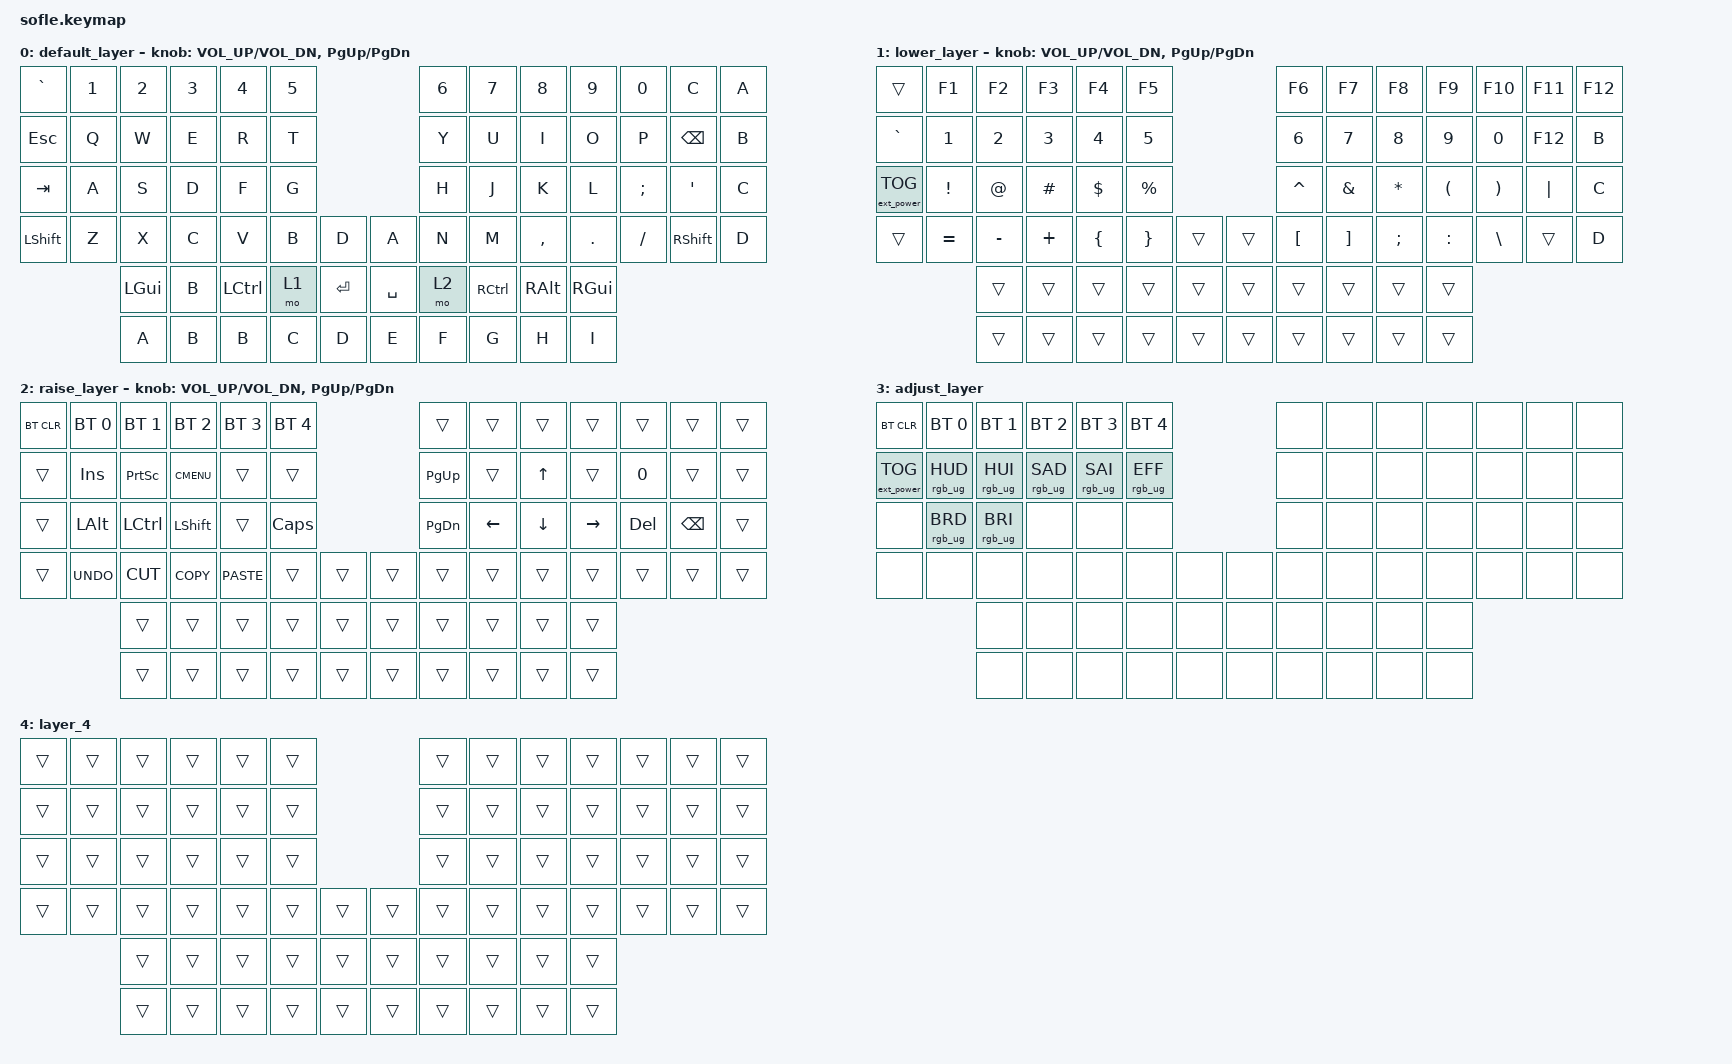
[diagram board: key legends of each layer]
/*
 * Copyright (c) 2020 The ZMK Contributors
 *
 * SPDX-License-Identifier: MIT
 */

#include <behaviors.dtsi>
#include <dt-bindings/zmk/bt.h>
#include <dt-bindings/zmk/ext_power.h>
#include <dt-bindings/zmk/keys.h>
#include <dt-bindings/zmk/rgb.h>

#define BASE 0
#define LOWER 1
#define RAISE 2
#define ADJUST 3

/ {
    // Activate ADJUST layer by pressing raise and lower

    conditional_layers {
        compatible = "zmk,conditional-layers";

        adjust_layer {
            if-layers = <1 2>;
            then-layer = <3>;
        };
    };

    keymap {
        compatible = "zmk,keymap";

        default_layer {
            // ------------------------------------------------------------------------------------------------------------
            // |   `   |  1  |  2  |  3   |  4   |  5   |                   |  6   |  7    |  8    |  9   |   0   |       |
            // |  ESC  |  Q  |  W  |  E   |  R   |  T   |                   |  Y   |  U    |  I    |  O   |   P   | BKSPC |
            // |  TAB  |  A  |  S  |  D   |  F   |  G   |                   |  H   |  J    |  K    |  L   |   ;   |   '   |
            // | SHIFT |  Z  |  X  |  C   |  V   |  B   |  MUTE  |  |       |  N   |  M    |  ,    |  .   |   /   | SHIFT |
            //               | GUI | ALT  | CTRL | LOWER|  ENTER |  | SPACE | RAISE| CTRL  | ALT   | GUI  |

            bindings = <
&kp GRAVE  &kp N1  &kp N2    &kp N3  &kp N4     &kp N5                        &kp N6  &kp N7     &kp N8     &kp N9    &kp N0    &kp C       &kp A
&kp ESC    &kp Q   &kp W     &kp E   &kp R      &kp T                         &kp Y   &kp U      &kp I      &kp O     &kp P     &kp BSPC    &kp B
&kp TAB    &kp A   &kp S     &kp D   &kp F      &kp G                         &kp H   &kp J      &kp K      &kp L     &kp SEMI  &kp SQT     &kp C
&kp LSHFT  &kp Z   &kp X     &kp C   &kp V      &kp B   &kp D      &kp A      &kp N   &kp M      &kp COMMA  &kp DOT   &kp FSLH  &kp RSHFT   &kp D
                   &kp LGUI  &kp B   &kp LCTRL  &mo 1   &kp RET    &kp SPACE  &mo 2   &kp RCTRL  &kp RALT   &kp RGUI
                   &kp A     &kp B   &kp B      &kp C   &kp D      &kp E      &kp F   &kp G      &kp H      &kp I
            >;

            sensor-bindings = <&inc_dec_kp C_VOL_UP C_VOL_DN &inc_dec_kp PG_UP PG_DN>;
        };

        lower_layer {
            // TODO: Some binds are waiting for shifted keycode support.
            // ------------------------------------------------------------------------------------------------------------
            // |       |  F1 |  F2 |  F3  |  F4  |  F5  |                   |  F6  |  F7   |  F8   |  F9  |  F10  |  F11  |
            // |   `   |  1  |  2  |  3   |  4   |  5   |                   |  6   |  7    |  8    |  9   |   0   |  F12  |
            // |       |  !  |  @  |  #   |  $   |  %   |                   |  ^   |  &    |  *    |  (   |   )   |   |   |
            // |       |  =  |  -  |  +   |  {   |  }   |        |  |       |  [   |  ]    |  ;    |  :   |   \   |       |
            //               |     |      |      |      |        |  |       |      |       |       |      |

            bindings = <
&trans             &kp F1     &kp F2     &kp F3    &kp F4    &kp F5                       &kp F6     &kp F7    &kp F8     &kp F9     &kp F10   &kp F11    &kp F12
&kp GRAVE          &kp N1     &kp N2     &kp N3    &kp N4    &kp N5                       &kp N6     &kp N7    &kp N8     &kp N9     &kp N0    &kp F12    &kp B
&ext_power EP_TOG  &kp EXCL   &kp AT     &kp HASH  &kp DLLR  &kp PRCNT                    &kp CARET  &kp AMPS  &kp ASTRK  &kp LPAR   &kp RPAR  &kp PIPE   &kp C
&trans             &kp EQUAL  &kp MINUS  &kp PLUS  &kp LBRC  &kp RBRC   &trans    &trans  &kp LBKT   &kp RBKT  &kp SEMI   &kp COLON  &kp BSLH  &trans     &kp D
                              &trans     &trans    &trans    &trans     &trans    &trans  &trans     &trans    &trans     &trans
                              &trans     &trans    &trans    &trans     &trans    &trans  &trans     &trans    &trans     &trans

            >;

            sensor-bindings = <&inc_dec_kp C_VOL_UP C_VOL_DN &inc_dec_kp PG_UP PG_DN>;
        };

        raise_layer {
            // ------------------------------------------------------------------------------------------------------------
            // | BTCLR | BT1  | BT2  |  BT3  |  BT4  |  BT5 |                |      |      |       |      |       |       |
            // |       | INS  | PSCR | GUI   |       |      |                | PGUP |      |   ^   |      |       |       |
            // |       | ALT  | CTRL | SHIFT |       | CAPS |                | PGDN |   <- |   v   |  ->  |  DEL  | BKSPC |
            // |       | UNDO | CUT  | COPY  | PASTE |      |      |  |      |      |      |       |      |       |       |
            //                |      |       |       |      |      |  |      |      |      |       |      |

            bindings = <
&bt BT_CLR  &bt BT_SEL 0  &bt BT_SEL 1  &bt BT_SEL 2  &bt BT_SEL 3  &bt BT_SEL 4                    &trans     &trans    &trans    &trans     &trans   &trans    &trans
&trans      &kp INS       &kp PSCRN     &kp K_CMENU   &trans        &trans                          &kp PG_UP  &trans    &kp UP    &trans     &kp N0   &trans    &trans
&trans      &kp LALT      &kp LCTRL     &kp LSHFT     &trans        &kp CLCK                        &kp PG_DN  &kp LEFT  &kp DOWN  &kp RIGHT  &kp DEL  &kp BSPC  &trans
&trans      &kp K_UNDO    &kp K_CUT     &kp K_COPY    &kp K_PASTE   &trans        &trans    &trans  &trans     &trans    &trans    &trans     &trans   &trans    &trans
                          &trans        &trans        &trans        &trans        &trans    &trans  &trans     &trans    &trans    &trans
                          &trans     &trans    &trans    &trans     &trans    &trans  &trans     &trans    &trans     &trans
            >;

            sensor-bindings = <&inc_dec_kp C_VOL_UP C_VOL_DN &inc_dec_kp PG_UP PG_DN>;
        };

        adjust_layer {
            // ----------------------------------------------------------------------------------------------------------------------------
            // | BTCLR  |  BT1    |  BT2    |   BT3   |   BT4   |   BT5   |                  |      |      |       |      |       |       |
            // | EXTPWR | RGB_HUD | RGB_HUI | RGB_SAD | RGB_SAI | RGB_EFF |                  |      |      |       |      |       |       |
            // |        | RGB_BRD | RGB_BRI |         |         |         |                  |      |      |       |      |       |       |
            // |        |         |         |         |         |         | RGB_TOG | |      |      |      |       |      |       |       |
            //                    |         |         |         |         |         | |      |      |      |       |      |

            bindings = <
&bt BT_CLR         &bt BT_SEL 0     &bt BT_SEL 1     &bt BT_SEL 2     &bt BT_SEL 3     &bt BT_SEL 4                     &none  &none  &none  &none  &none  &none  &none
&ext_power EP_TOG  &rgb_ug RGB_HUD  &rgb_ug RGB_HUI  &rgb_ug RGB_SAD  &rgb_ug RGB_SAI  &rgb_ug RGB_EFF                  &none  &none  &none  &none  &none  &none  &none
&none              &rgb_ug RGB_BRD  &rgb_ug RGB_BRI  &none            &none            &none                            &none  &none  &none  &none  &none  &none  &none
&none              &none            &none            &none            &none            &none            &none    &none  &none  &none  &none  &none  &none  &none  &none
                                    &none            &none            &none            &none            &none    &none  &none  &none  &none  &none
                                    &none            &none            &none            &none            &none    &none  &none  &none  &none  &none
            >;
        };

        layer_4 {
            bindings = <
&trans  &trans  &trans  &trans  &trans  &trans                    &trans  &trans  &trans  &trans  &trans  &trans    &trans
&trans  &trans  &trans  &trans  &trans  &trans                    &trans  &trans  &trans  &trans  &trans  &trans    &trans
&trans  &trans  &trans  &trans  &trans  &trans                    &trans  &trans  &trans  &trans  &trans  &trans    &trans
&trans  &trans  &trans  &trans  &trans  &trans  &trans    &trans  &trans  &trans  &trans  &trans  &trans  &trans    &trans
                &trans  &trans  &trans  &trans  &trans    &trans  &trans  &trans  &trans  &trans
                &trans  &trans  &trans  &trans  &trans    &trans  &trans  &trans  &trans  &trans
            >;
        };
    };
};
